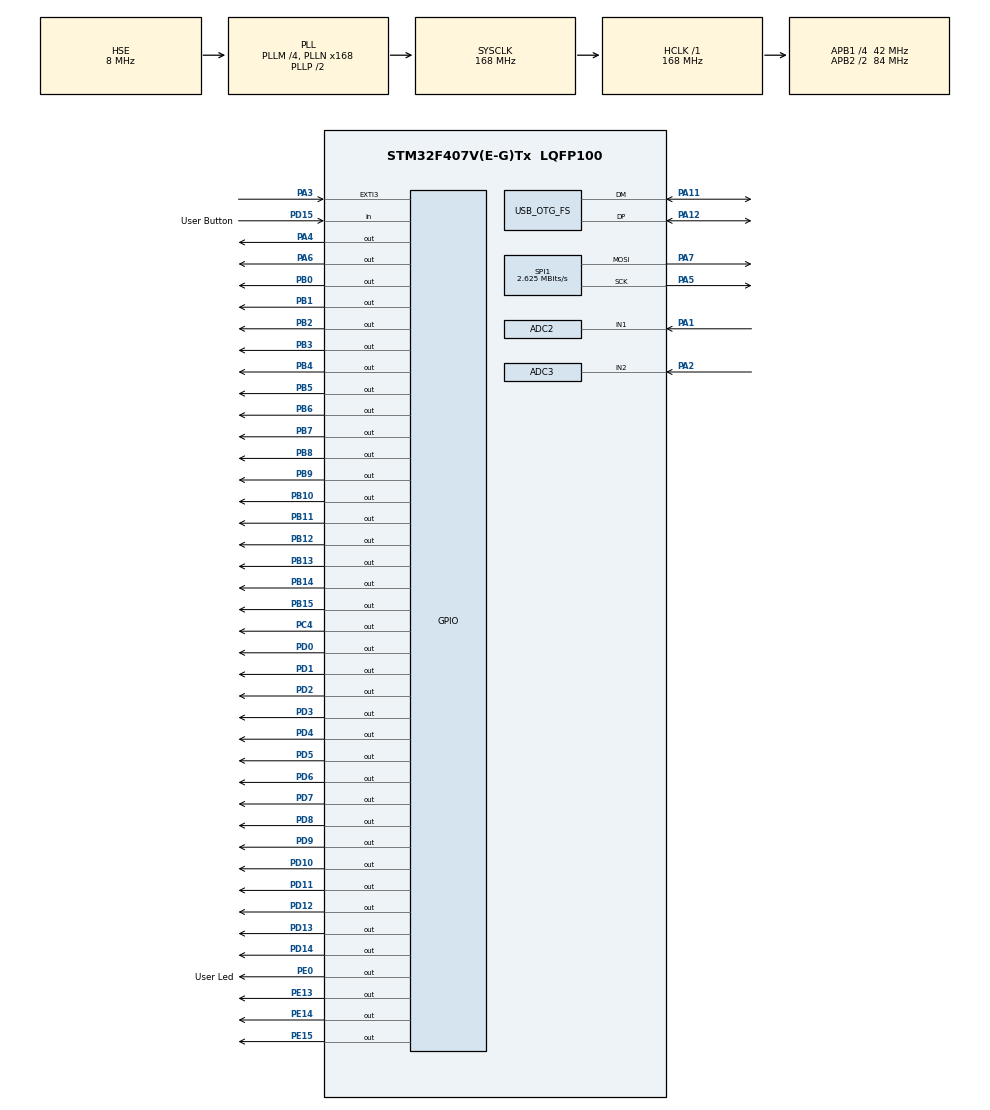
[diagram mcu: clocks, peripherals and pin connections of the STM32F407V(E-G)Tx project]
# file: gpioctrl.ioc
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ADC1.Channel-4\#ChannelRegularConversion=ADC_CHANNEL_VREFINT
ADC1.NbrOfConversionFlag=1
ADC1.Rank-4\#ChannelRegularConversion=1
ADC1.SamplingTime-4\#ChannelRegularConversion=ADC_SAMPLETIME_3CYCLES
ADC1.master=1
ADC2.Channel-2\#ChannelRegularConversion=ADC_CHANNEL_1
ADC2.NbrOfConversionFlag=1
ADC2.Rank-2\#ChannelRegularConversion=1
ADC2.SamplingTime-2\#ChannelRegularConversion=ADC_SAMPLETIME_3CYCLES
ADC3.Channel-0\#ChannelRegularConversion=ADC_CHANNEL_2
ADC3.NbrOfConversionFlag=1
ADC3.Rank-0\#ChannelRegularConversion=1
ADC3.SamplingTime-0\#ChannelRegularConversion=ADC_SAMPLETIME_3CYCLES
Mcu.Family=STM32F4
Mcu.Name=STM32F407V(E-G)Tx
Mcu.Package=LQFP100
NVIC.ADC_IRQn=true\:0\:0\:false\:false\:true\:true\:true
NVIC.EXTI3_IRQn=true\:0\:0\:false\:false\:true\:true\:true
NVIC.OTG_FS_IRQn=true\:0\:0\:false\:false\:true\:false\:true
NVIC.PriorityGroup=NVIC_PRIORITYGROUP_4
NVIC.TIM3_IRQn=true\:0\:0\:false\:false\:true\:true\:true
PA0-WKUP.Signal=ADCx_IN0
PA1.Signal=ADCx_IN1
PA11.Mode=Device_Only
PA11.Signal=USB_OTG_FS_DM
PA12.Mode=Device_Only
PA12.Signal=USB_OTG_FS_DP
PA13.Mode=Serial_Wire
PA13.Signal=SYS_JTMS-SWDIO
PA14.Mode=Serial_Wire
PA14.Signal=SYS_JTCK-SWCLK
PA2.Signal=ADCx_IN2
PA3.GPIO_ModeDefaultEXTI=GPIO_MODE_IT_RISING_FALLING
PA3.GPIO_PuPd=GPIO_PULLDOWN
PA3.Signal=GPXTI3
PA4.GPIO_PuPd=GPIO_PULLDOWN
PA4.GPIO_Speed=GPIO_SPEED_FREQ_MEDIUM
PA4.Signal=GPIO_Output
PA5.GPIO_PuPd=GPIO_PULLDOWN
PA5.GPIO_Speed=GPIO_SPEED_FREQ_MEDIUM
PA5.Mode=TX_Only_Simplex_Unidirect_Master
PA5.Signal=SPI1_SCK
PA6.GPIO_PuPd=GPIO_PULLDOWN
PA6.GPIO_Speed=GPIO_SPEED_FREQ_MEDIUM
PA6.Signal=GPIO_Output
PA7.GPIO_PuPd=GPIO_PULLDOWN
PA7.GPIO_Speed=GPIO_SPEED_FREQ_MEDIUM
PA7.Mode=TX_Only_Simplex_Unidirect_Master
PA7.Signal=SPI1_MOSI
PB0.GPIO_PuPd=GPIO_PULLDOWN
PB0.Signal=GPIO_Output
PB1.GPIO_PuPd=GPIO_PULLDOWN
PB1.Signal=GPIO_Output
PB10.GPIO_PuPd=GPIO_PULLDOWN
PB10.Signal=GPIO_Output
PB11.GPIO_PuPd=GPIO_PULLDOWN
PB11.Signal=GPIO_Output
PB12.GPIO_PuPd=GPIO_PULLDOWN
PB12.Signal=GPIO_Output
PB13.GPIO_PuPd=GPIO_PULLDOWN
PB13.Signal=GPIO_Output
PB14.GPIO_PuPd=GPIO_PULLDOWN
PB14.Signal=GPIO_Output
PB15.GPIO_PuPd=GPIO_PULLDOWN
PB15.Signal=GPIO_Output
PB2.GPIO_PuPd=GPIO_PULLDOWN
PB2.Signal=GPIO_Output
PB3.GPIO_PuPd=GPIO_PULLDOWN
PB3.Signal=GPIO_Output
PB4.GPIO_PuPd=GPIO_PULLDOWN
PB4.Signal=GPIO_Output
PB5.GPIO_PuPd=GPIO_PULLDOWN
PB5.Signal=GPIO_Output
PB6.GPIO_PuPd=GPIO_PULLDOWN
PB6.Signal=GPIO_Output
PB7.GPIO_PuPd=GPIO_PULLDOWN
PB7.Signal=GPIO_Output
PB8.GPIO_PuPd=GPIO_PULLDOWN
PB8.Signal=GPIO_Output
PB9.GPIO_PuPd=GPIO_PULLDOWN
PB9.Signal=GPIO_Output
PC14-OSC32_IN.Mode=LSE-External-Oscillator
PC14-OSC32_IN.Signal=RCC_OSC32_IN
PC15-OSC32_OUT.Mode=LSE-External-Oscillator
PC15-OSC32_OUT.Signal=RCC_OSC32_OUT
PC4.GPIO_PuPd=GPIO_PULLDOWN
PC4.GPIO_Speed=GPIO_SPEED_FREQ_MEDIUM
PC4.Signal=GPIO_Output
PD0.GPIO_PuPd=GPIO_PULLDOWN
PD0.Signal=GPIO_Output
PD1.GPIO_PuPd=GPIO_PULLDOWN
PD1.Signal=GPIO_Output
PD10.GPIO_PuPd=GPIO_PULLDOWN
PD10.Signal=GPIO_Output
PD11.GPIO_PuPd=GPIO_PULLDOWN
PD11.Signal=GPIO_Output
PD12.GPIO_PuPd=GPIO_PULLDOWN
PD12.Signal=GPIO_Output
PD13.GPIO_PuPd=GPIO_PULLDOWN
PD13.Signal=GPIO_Output
PD14.GPIO_PuPd=GPIO_PULLDOWN
PD14.Signal=GPIO_Output
PD15.GPIO_Label=User Button
PD15.Signal=GPIO_Input
PD2.GPIO_PuPd=GPIO_PULLDOWN
PD2.Signal=GPIO_Output
PD3.GPIO_PuPd=GPIO_PULLDOWN
PD3.Signal=GPIO_Output
PD4.GPIO_PuPd=GPIO_PULLDOWN
PD4.Signal=GPIO_Output
PD5.GPIO_PuPd=GPIO_PULLDOWN
PD5.Signal=GPIO_Output
PD6.GPIO_PuPd=GPIO_PULLDOWN
PD6.Signal=GPIO_Output
PD7.GPIO_PuPd=GPIO_PULLDOWN
PD7.Signal=GPIO_Output
PD8.GPIO_PuPd=GPIO_PULLDOWN
PD8.Signal=GPIO_Output
PD9.GPIO_PuPd=GPIO_PULLDOWN
PD9.Signal=GPIO_Output
PE0.GPIO_Label=User Led
PE0.Signal=GPIO_Output
PE13.GPIO_PuPd=GPIO_PULLDOWN
PE13.Signal=GPIO_Output
PE14.GPIO_PuPd=GPIO_PULLDOWN
PE14.Signal=GPIO_Output
PE15.GPIO_PuPd=GPIO_PULLDOWN
PE15.Signal=GPIO_Output
PH0-OSC_IN.Mode=HSE-External-Oscillator
PH0-OSC_IN.Signal=RCC_OSC_IN
PH1-OSC_OUT.Mode=HSE-External-Oscillator
PH1-OSC_OUT.Signal=RCC_OSC_OUT
ProjectManager.HeapSize=0x200
ProjectManager.StackSize=0x400
ProjectManager.TargetToolchain=STM32CubeIDE
RCC.48MHZClocksFreq_Value=48000000
RCC.AHBFreq_Value=168000000
RCC.APB1CLKDivider=RCC_HCLK_DIV4
RCC.APB1Freq_Value=42000000
RCC.APB1TimFreq_Value=84000000
RCC.APB2CLKDivider=RCC_HCLK_DIV2
RCC.APB2Freq_Value=84000000
RCC.APB2TimFreq_Value=168000000
RCC.CortexFreq_Value=168000000
RCC.HCLKFreq_Value=168000000
RCC.HSE_VALUE=8000000
RCC.HSI_VALUE=16000000
RCC.PLLM=4
RCC.PLLN=168
RCC.PLLQ=7
RCC.SYSCLKFreq_VALUE=168000000
RCC.SYSCLKSource=RCC_SYSCLKSOURCE_PLLCLK
RCC.VCOOutputFreq_Value=336000000
SH.ADCx_IN0.0=ADC1_IN0
SH.ADCx_IN1.0=ADC2_IN1,IN1
SH.ADCx_IN2.0=ADC3_IN2,IN2
SPI1.BaudRatePrescaler=SPI_BAUDRATEPRESCALER_32
SPI1.CalculateBaudRate=2.625 MBits/s
SPI1.Direction=SPI_DIRECTION_2LINES
SPI1.FirstBit=SPI_FIRSTBIT_LSB
SPI1.Mode=SPI_MODE_MASTER
SPI1.VirtualType=VM_MASTER
TIM3.Period=21000
TIM3.Prescaler=4000
USB_DEVICE.CLASS_NAME_FS=CDC
USB_DEVICE.VirtualMode-CDC_FS=Cdc
USB_DEVICE.VirtualModeFS=Cdc_FS
USB_OTG_FS.VirtualMode=Device_Only
VP_ADC1_Vref_Input.Mode=IN-Vrefint
VP_TIM3_VS_ClockSourceINT.Mode=Internal
VP_USB_DEVICE_VS_USB_DEVICE_CDC_FS.Mode=CDC_FS
board=custom

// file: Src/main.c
/* USER CODE BEGIN Header */
/**
  ******************************************************************************
  * @file           : main.c
  * @brief          : Main program body
  ******************************************************************************
  * @attention
  *
  * <h2><center>&copy; Copyright (c) 2019 STMicroelectronics.
  * All rights reserved.</center></h2>
  *
  * This software component is licensed by ST under BSD 3-Clause license,
  * the "License"; You may not use this file except in compliance with the
  * License. You may obtain a copy of the License at:
  *                        opensource.org/licenses/BSD-3-Clause
  *
  ******************************************************************************
  */
// GPIO Controller
// Redline Communications
// Copyright (c) May 2019

/* USER CODE END Header */

#include "main.h"
#include "usb_device.h"

/* USER CODE BEGIN Includes */
#include "vcp.h"								// virtual com port code
#include "stdbool.h"							// bool library
#include "flash.h"								// flash library
#include "spi.h"								// spi code
/* USER CODE END Includes */

/* USER CODE BEGIN PD */
#define interruptDebounceTime 300 				/* interrupt debounce in mSec */
#define powerUpDelayTime 50						/* delay before ADC measurement in mSec*/
#define powerInPort GPIOA 						/* power input port A*/
#define powerInPin GPIO_PIN_3					/* power input pin 3*/

/* USER CODE END PD */

ADC_HandleTypeDef hadc1;
ADC_HandleTypeDef hadc2;
ADC_HandleTypeDef hadc3;

SPI_HandleTypeDef hspi1;

TIM_HandleTypeDef htim3;

/* USER CODE BEGIN PV */
static uint32_t interruptStartTime = 0;			// sysTick for interrupt
static _Bool powerIn = false; 					// power switch state PA3
static _Bool powerOutEnable = false; 			// power enable PE14
static _Bool adc1Busy = false; 					// ADC1 busy flag
static _Bool adc2Busy = false; 					// ADC2 busy flag

/* USER CODE END PV */

void SystemClock_Config(void);
static void MX_GPIO_Init(void);
static void MX_ADC2_Init(void);
static void MX_ADC3_Init(void);
static void MX_ADC1_Init(void);
static void MX_TIM3_Init(void);
static void MX_SPI1_Init(void);
/* USER CODE BEGIN PFP */
void extInt3TimeOut (void); 					// interrupt debounce timeout
/* USER CODE END PFP */

int main(void)
{
  /* USER CODE BEGIN 1 */
	SCB->VTOR = 0x8004000UL; // interrupt vector remap after boot-loader

  /* USER CODE END 1 */

  /* MCU Configuration--------------------------------------------------------*/

  /* Reset of all peripherals, Initializes the Flash interface and the Systick. */
  HAL_Init();

  /* Configure the system clock */
  SystemClock_Config();

  /* Initialize all configured peripherals */
  MX_GPIO_Init();
  MX_USB_DEVICE_Init();
  MX_ADC2_Init();
  MX_ADC3_Init();
  MX_ADC1_Init();
  MX_TIM3_Init();
  MX_SPI1_Init();
  /* USER CODE BEGIN 2 */
  HAL_ADC_Start_IT(&hadc1); 					// start ADC1 for internal calibration
  powerUpInit();								// start connection
  HAL_TIM_Base_Start_IT(&htim3);				// start timer3 in interrupt mode
  MY_FLASH_SetSectorAddrs(11, 0x080E0000);		// set up flash sector 11
  loadFromFlash(); 								// load data at power up

  /* USER CODE END 2 */

  /* Infinite loop */
  /* USER CODE BEGIN WHILE */
  while (1)
  {
	  /////////////////////////////////////////////////////////////////////////////

	  receiveData(); 			// Rx
	  processData(); 			// process
	  transmitData(); 			// Tx

	  checkErrors(); 			// check errors
	  extInt3TimeOut(); 		// interrupt debounce timeout

	  /////////////////////////////////////////////////////////////////////////////

    /* USER CODE END WHILE */

  }
}

void SystemClock_Config(void)
{
  RCC_OscInitTypeDef RCC_OscInitStruct = {0};
  RCC_ClkInitTypeDef RCC_ClkInitStruct = {0};

  /** Configure the main internal regulator output voltage
  */
  __HAL_RCC_PWR_CLK_ENABLE();
  __HAL_PWR_VOLTAGESCALING_CONFIG(PWR_REGULATOR_VOLTAGE_SCALE1);
  /** Initializes the CPU, AHB and APB busses clocks
  */
  RCC_OscInitStruct.OscillatorType = RCC_OSCILLATORTYPE_HSE;
  RCC_OscInitStruct.HSEState = RCC_HSE_ON;
  RCC_OscInitStruct.PLL.PLLState = RCC_PLL_ON;
  RCC_OscInitStruct.PLL.PLLSource = RCC_PLLSOURCE_HSE;
  RCC_OscInitStruct.PLL.PLLM = 4;
  RCC_OscInitStruct.PLL.PLLN = 168;
  RCC_OscInitStruct.PLL.PLLP = RCC_PLLP_DIV2;
  RCC_OscInitStruct.PLL.PLLQ = 7;
  if (HAL_RCC_OscConfig(&RCC_OscInitStruct) != HAL_OK)
  {
    Error_Handler();
  }
  /** Initializes the CPU, AHB and APB busses clocks
  */
  RCC_ClkInitStruct.ClockType = RCC_CLOCKTYPE_HCLK|RCC_CLOCKTYPE_SYSCLK
                              |RCC_CLOCKTYPE_PCLK1|RCC_CLOCKTYPE_PCLK2;
  RCC_ClkInitStruct.SYSCLKSource = RCC_SYSCLKSOURCE_PLLCLK;
  RCC_ClkInitStruct.AHBCLKDivider = RCC_SYSCLK_DIV1;
  RCC_ClkInitStruct.APB1CLKDivider = RCC_HCLK_DIV4;
  RCC_ClkInitStruct.APB2CLKDivider = RCC_HCLK_DIV2;

  if (HAL_RCC_ClockConfig(&RCC_ClkInitStruct, FLASH_LATENCY_5) != HAL_OK)
  {
    Error_Handler();
  }
}

static void MX_ADC1_Init(void)
{

  ADC_ChannelConfTypeDef sConfig = {0};

  /** Configure the global features of the ADC (Clock, Resolution, Data Alignment and number of conversion)
  */
  hadc1.Instance = ADC1;
  hadc1.Init.ClockPrescaler = ADC_CLOCK_SYNC_PCLK_DIV4;
  hadc1.Init.Resolution = ADC_RESOLUTION_12B;
  hadc1.Init.ScanConvMode = DISABLE;
  hadc1.Init.ContinuousConvMode = DISABLE;
  hadc1.Init.DiscontinuousConvMode = DISABLE;
  hadc1.Init.ExternalTrigConvEdge = ADC_EXTERNALTRIGCONVEDGE_NONE;
  hadc1.Init.ExternalTrigConv = ADC_SOFTWARE_START;
  hadc1.Init.DataAlign = ADC_DATAALIGN_RIGHT;
  hadc1.Init.NbrOfConversion = 1;
  hadc1.Init.DMAContinuousRequests = DISABLE;
  hadc1.Init.EOCSelection = ADC_EOC_SINGLE_CONV;
  if (HAL_ADC_Init(&hadc1) != HAL_OK)
  {
    Error_Handler();
  }
  /** Configure for the selected ADC regular channel its corresponding rank in the sequencer and its sample time.
  */
  sConfig.Channel = ADC_CHANNEL_VREFINT;
  sConfig.Rank = 1;
  sConfig.SamplingTime = ADC_SAMPLETIME_3CYCLES;
  if (HAL_ADC_ConfigChannel(&hadc1, &sConfig) != HAL_OK)
  {
    Error_Handler();
  }

}

static void MX_ADC2_Init(void)
{

  ADC_ChannelConfTypeDef sConfig = {0};

  /** Configure the global features of the ADC (Clock, Resolution, Data Alignment and number of conversion)
  */
  hadc2.Instance = ADC2;
  hadc2.Init.ClockPrescaler = ADC_CLOCK_SYNC_PCLK_DIV4;
  hadc2.Init.Resolution = ADC_RESOLUTION_12B;
  hadc2.Init.ScanConvMode = DISABLE;
  hadc2.Init.ContinuousConvMode = DISABLE;
  hadc2.Init.DiscontinuousConvMode = DISABLE;
  hadc2.Init.ExternalTrigConvEdge = ADC_EXTERNALTRIGCONVEDGE_NONE;
  hadc2.Init.ExternalTrigConv = ADC_SOFTWARE_START;
  hadc2.Init.DataAlign = ADC_DATAALIGN_RIGHT;
  hadc2.Init.NbrOfConversion = 1;
  hadc2.Init.DMAContinuousRequests = DISABLE;
  hadc2.Init.EOCSelection = ADC_EOC_SINGLE_CONV;
  if (HAL_ADC_Init(&hadc2) != HAL_OK)
  {
    Error_Handler();
  }
  /** Configure for the selected ADC regular channel its corresponding rank in the sequencer and its sample time.
  */
  sConfig.Channel = ADC_CHANNEL_1;
  sConfig.Rank = 1;
  sConfig.SamplingTime = ADC_SAMPLETIME_3CYCLES;
  if (HAL_ADC_ConfigChannel(&hadc2, &sConfig) != HAL_OK)
  {
    Error_Handler();
  }

}

static void MX_ADC3_Init(void)
{

  ADC_ChannelConfTypeDef sConfig = {0};

  /** Configure the global features of the ADC (Clock, Resolution, Data Alignment and number of conversion)
  */
  hadc3.Instance = ADC3;
  hadc3.Init.ClockPrescaler = ADC_CLOCK_SYNC_PCLK_DIV4;
  hadc3.Init.Resolution = ADC_RESOLUTION_12B;
  hadc3.Init.ScanConvMode = DISABLE;
  hadc3.Init.ContinuousConvMode = DISABLE;
  hadc3.Init.DiscontinuousConvMode = DISABLE;
  hadc3.Init.ExternalTrigConvEdge = ADC_EXTERNALTRIGCONVEDGE_NONE;
  hadc3.Init.ExternalTrigConv = ADC_SOFTWARE_START;
  hadc3.Init.DataAlign = ADC_DATAALIGN_RIGHT;
  hadc3.Init.NbrOfConversion = 1;
  hadc3.Init.DMAContinuousRequests = DISABLE;
  hadc3.Init.EOCSelection = ADC_EOC_SINGLE_CONV;
  if (HAL_ADC_Init(&hadc3) != HAL_OK)
  {
    Error_Handler();
  }
  /** Configure for the selected ADC regular channel its corresponding rank in the sequencer and its sample time.
  */
  sConfig.Channel = ADC_CHANNEL_2;
  sConfig.Rank = 1;
  sConfig.SamplingTime = ADC_SAMPLETIME_3CYCLES;
  if (HAL_ADC_ConfigChannel(&hadc3, &sConfig) != HAL_OK)
  {
    Error_Handler();
  }

}

static void MX_SPI1_Init(void)
{

  /* SPI1 parameter configuration*/
  hspi1.Instance = SPI1;
  hspi1.Init.Mode = SPI_MODE_MASTER;
  hspi1.Init.Direction = SPI_DIRECTION_2LINES;
  hspi1.Init.DataSize = SPI_DATASIZE_8BIT;
  hspi1.Init.CLKPolarity = SPI_POLARITY_LOW;
  hspi1.Init.CLKPhase = SPI_PHASE_1EDGE;
  hspi1.Init.NSS = SPI_NSS_SOFT;
  hspi1.Init.BaudRatePrescaler = SPI_BAUDRATEPRESCALER_32;
  hspi1.Init.FirstBit = SPI_FIRSTBIT_LSB;
  hspi1.Init.TIMode = SPI_TIMODE_DISABLE;
  hspi1.Init.CRCCalculation = SPI_CRCCALCULATION_DISABLE;
  hspi1.Init.CRCPolynomial = 10;
  if (HAL_SPI_Init(&hspi1) != HAL_OK)
  {
    Error_Handler();
  }

}

static void MX_TIM3_Init(void)
{

  TIM_ClockConfigTypeDef sClockSourceConfig = {0};
  TIM_MasterConfigTypeDef sMasterConfig = {0};

  htim3.Instance = TIM3;
  htim3.Init.Prescaler = 4000;
  htim3.Init.CounterMode = TIM_COUNTERMODE_UP;
  htim3.Init.Period = 21000;
  htim3.Init.ClockDivision = TIM_CLOCKDIVISION_DIV1;
  htim3.Init.AutoReloadPreload = TIM_AUTORELOAD_PRELOAD_DISABLE;
  if (HAL_TIM_Base_Init(&htim3) != HAL_OK)
  {
    Error_Handler();
  }
  sClockSourceConfig.ClockSource = TIM_CLOCKSOURCE_INTERNAL;
  if (HAL_TIM_ConfigClockSource(&htim3, &sClockSourceConfig) != HAL_OK)
  {
    Error_Handler();
  }
  sMasterConfig.MasterOutputTrigger = TIM_TRGO_RESET;
  sMasterConfig.MasterSlaveMode = TIM_MASTERSLAVEMODE_DISABLE;
  if (HAL_TIMEx_MasterConfigSynchronization(&htim3, &sMasterConfig) != HAL_OK)
  {
    Error_Handler();
  }

}

static void MX_GPIO_Init(void)
{
  GPIO_InitTypeDef GPIO_InitStruct = {0};

  /* GPIO Ports Clock Enable */
  __HAL_RCC_GPIOC_CLK_ENABLE();
  __HAL_RCC_GPIOH_CLK_ENABLE();
  __HAL_RCC_GPIOA_CLK_ENABLE();
  __HAL_RCC_GPIOB_CLK_ENABLE();
  __HAL_RCC_GPIOE_CLK_ENABLE();
  __HAL_RCC_GPIOD_CLK_ENABLE();

  /*Configure GPIO pin Output Level */
  HAL_GPIO_WritePin(GPIOA, GPIO_PIN_4|GPIO_PIN_6, GPIO_PIN_RESET);

  /*Configure GPIO pin Output Level */
  HAL_GPIO_WritePin(GPIOC, GPIO_PIN_4, GPIO_PIN_RESET);

  /*Configure GPIO pin Output Level */
  HAL_GPIO_WritePin(GPIOB, GPIO_PIN_0|GPIO_PIN_1|GPIO_PIN_2|GPIO_PIN_10
                          |GPIO_PIN_11|GPIO_PIN_12|GPIO_PIN_13|GPIO_PIN_14
                          |GPIO_PIN_15|GPIO_PIN_3|GPIO_PIN_4|GPIO_PIN_5
                          |GPIO_PIN_6|GPIO_PIN_7|GPIO_PIN_8|GPIO_PIN_9, GPIO_PIN_RESET);

  /*Configure GPIO pin Output Level */
  HAL_GPIO_WritePin(GPIOE, GPIO_PIN_13|GPIO_PIN_14|GPIO_PIN_15|User_Led_Pin, GPIO_PIN_RESET);

  /*Configure GPIO pin Output Level */
  HAL_GPIO_WritePin(GPIOD, GPIO_PIN_8|GPIO_PIN_9|GPIO_PIN_10|GPIO_PIN_11
                          |GPIO_PIN_12|GPIO_PIN_13|GPIO_PIN_14|GPIO_PIN_0
                          |GPIO_PIN_1|GPIO_PIN_2|GPIO_PIN_3|GPIO_PIN_4
                          |GPIO_PIN_5|GPIO_PIN_6|GPIO_PIN_7, GPIO_PIN_RESET);

  /*Configure GPIO pin : PA3 */
  GPIO_InitStruct.Pin = GPIO_PIN_3;
  GPIO_InitStruct.Mode = GPIO_MODE_IT_RISING_FALLING;
  GPIO_InitStruct.Pull = GPIO_PULLDOWN;
  HAL_GPIO_Init(GPIOA, &GPIO_InitStruct);

  /*Configure GPIO pins : PA4 PA6 */
  GPIO_InitStruct.Pin = GPIO_PIN_4|GPIO_PIN_6;
  GPIO_InitStruct.Mode = GPIO_MODE_OUTPUT_PP;
  GPIO_InitStruct.Pull = GPIO_PULLDOWN;
  GPIO_InitStruct.Speed = GPIO_SPEED_FREQ_MEDIUM;
  HAL_GPIO_Init(GPIOA, &GPIO_InitStruct);

  /*Configure GPIO pin : PC4 */
  GPIO_InitStruct.Pin = GPIO_PIN_4;
  GPIO_InitStruct.Mode = GPIO_MODE_OUTPUT_PP;
  GPIO_InitStruct.Pull = GPIO_PULLDOWN;
  GPIO_InitStruct.Speed = GPIO_SPEED_FREQ_MEDIUM;
  HAL_GPIO_Init(GPIOC, &GPIO_InitStruct);

  /*Configure GPIO pins : PB0 PB1 PB2 PB10
                           PB11 PB12 PB13 PB14
                           PB15 PB3 PB4 PB5
                           PB6 PB7 PB8 PB9 */
  GPIO_InitStruct.Pin = GPIO_PIN_0|GPIO_PIN_1|GPIO_PIN_2|GPIO_PIN_10
                          |GPIO_PIN_11|GPIO_PIN_12|GPIO_PIN_13|GPIO_PIN_14
                          |GPIO_PIN_15|GPIO_PIN_3|GPIO_PIN_4|GPIO_PIN_5
                          |GPIO_PIN_6|GPIO_PIN_7|GPIO_PIN_8|GPIO_PIN_9;
  GPIO_InitStruct.Mode = GPIO_MODE_OUTPUT_PP;
  GPIO_InitStruct.Pull = GPIO_PULLDOWN;
  GPIO_InitStruct.Speed = GPIO_SPEED_FREQ_LOW;
  HAL_GPIO_Init(GPIOB, &GPIO_InitStruct);

  /*Configure GPIO pins : PE13 PE14 PE15 */
  GPIO_InitStruct.Pin = GPIO_PIN_13|GPIO_PIN_14|GPIO_PIN_15;
  GPIO_InitStruct.Mode = GPIO_MODE_OUTPUT_PP;
  GPIO_InitStruct.Pull = GPIO_PULLDOWN;
  GPIO_InitStruct.Speed = GPIO_SPEED_FREQ_LOW;
  HAL_GPIO_Init(GPIOE, &GPIO_InitStruct);

  /*Configure GPIO pins : PD8 PD9 PD10 PD11
                           PD12 PD13 PD14 PD0
                           PD1 PD2 PD3 PD4
                           PD5 PD6 PD7 */
  GPIO_InitStruct.Pin = GPIO_PIN_8|GPIO_PIN_9|GPIO_PIN_10|GPIO_PIN_11
                          |GPIO_PIN_12|GPIO_PIN_13|GPIO_PIN_14|GPIO_PIN_0
                          |GPIO_PIN_1|GPIO_PIN_2|GPIO_PIN_3|GPIO_PIN_4
                          |GPIO_PIN_5|GPIO_PIN_6|GPIO_PIN_7;
  GPIO_InitStruct.Mode = GPIO_MODE_OUTPUT_PP;
  GPIO_InitStruct.Pull = GPIO_PULLDOWN;
  GPIO_InitStruct.Speed = GPIO_SPEED_FREQ_LOW;
  HAL_GPIO_Init(GPIOD, &GPIO_InitStruct);

  /*Configure GPIO pin : User_Button_Pin */
  GPIO_InitStruct.Pin = User_Button_Pin;
  GPIO_InitStruct.Mode = GPIO_MODE_INPUT;
  GPIO_InitStruct.Pull = GPIO_NOPULL;
  HAL_GPIO_Init(User_Button_GPIO_Port, &GPIO_InitStruct);

  /*Configure GPIO pin : User_Led_Pin */
  GPIO_InitStruct.Pin = User_Led_Pin;
  GPIO_InitStruct.Mode = GPIO_MODE_OUTPUT_PP;
  GPIO_InitStruct.Pull = GPIO_NOPULL;
  GPIO_InitStruct.Speed = GPIO_SPEED_FREQ_LOW;
  HAL_GPIO_Init(User_Led_GPIO_Port, &GPIO_InitStruct);

  /* EXTI interrupt init*/
  HAL_NVIC_SetPriority(EXTI3_IRQn, 0, 0);
  HAL_NVIC_EnableIRQ(EXTI3_IRQn);

}

/* USER CODE BEGIN 4 */
//////////////////////////////////////////////////////////////////////////////////////////////

// power-up interrupt EXT3 at PA3
void HAL_GPIO_EXTI_Callback (uint16_t GPIO_Pin)
{
	UNUSED(GPIO_Pin); // avoid warnings for interrupt pin
	EXTI->IMR &= 0xFFFFFFF7; // disable external interrupt
	EXTI->PR = 0x8; //clear interrupt flag
	interruptStartTime = HAL_GetTick();
}

// ADC conversion complete interrupt
void HAL_ADC_ConvCpltCallback (ADC_HandleTypeDef* hadc)
{
	if (hadc->Instance == ADC2) // ADC2
	{
		checkMeasurement(&hadc2, 1); // check measurement 1
		HAL_ADC_Stop(&hadc2); // stop ADC2
		adc1Busy = false;
	}
	else if (hadc->Instance == ADC3) // ADC3
	{
		checkMeasurement(&hadc3, 2); // check measurement 2
		HAL_ADC_Stop(&hadc3); // stop ADC3
		adc2Busy = false;
	}
	else // ADC1 (calibration)
	{
		adcCalibration(&hadc1);
		HAL_ADC_Stop(&hadc1); // stop ADC1
	}
}

// timer complete interrupt (every second)
void HAL_TIM_PeriodElapsedCallback (TIM_HandleTypeDef *htim)
{
	HAL_ADC_Start_IT(&hadc1); // ADC calibration
	sleepCheck(); // sleep timer
	if (powerOutputEnableCheck()) // if power enabled
		startADCs(false); // launch ADCs to measure, no power up delay
}

// launch ADCs to measure
void startADCs (_Bool powerUpDelay)
{
	if (powerUpDelay) // needs power up delay
		HAL_Delay(powerUpDelayTime);
	HAL_ADC_Start_IT(&hadc2); // start ADC2 in interrupt mode
	HAL_ADC_Start_IT(&hadc3); // start ADC3 in interrupt mode
	adc1Busy = true;
	adc2Busy = true;
}

// interrupt debounce timeout
void extInt3TimeOut (void)
{
	if (((HAL_GetTick() - interruptStartTime) > interruptDebounceTime) && (!(EXTI->IMR & 0x8))) // interrupt debounce time
	{
		if ((_Bool)HAL_GPIO_ReadPin(powerInPort, powerInPin) && (!powerIn)) // rising edge PA3
		{
			powerIn = true; // rising edge PA3
			powerIsOnSet(true);
		}
		else if (!(_Bool)HAL_GPIO_ReadPin(powerInPort, powerInPin) && (powerIn)) // falling edge PA3
		{
			powerIn = false;
			powerIsOnSet(false);
		}
		EXTI->PR = 0x8; //clear interrupt flag
		EXTI->IMR |= 0x8; // enable interrupt
	}
}

// send SPI data
void sendSPI (uint8_t *dataSPI, int numSPIbytes)
{
	spiTx(hspi1, dataSPI, numSPIbytes); // send spi
}

// Set PE14 power enable state
void powerOutEnableSet (_Bool powerEnableState)
{
	powerOutEnable = powerEnableState;
}

//////////////////////////////////////////////////////////////////////////////////////////////
/* USER CODE END 4 */

void Error_Handler(void)
{
}

/************************ (C) COPYRIGHT STMicroelectronics *****END OF FILE****/
